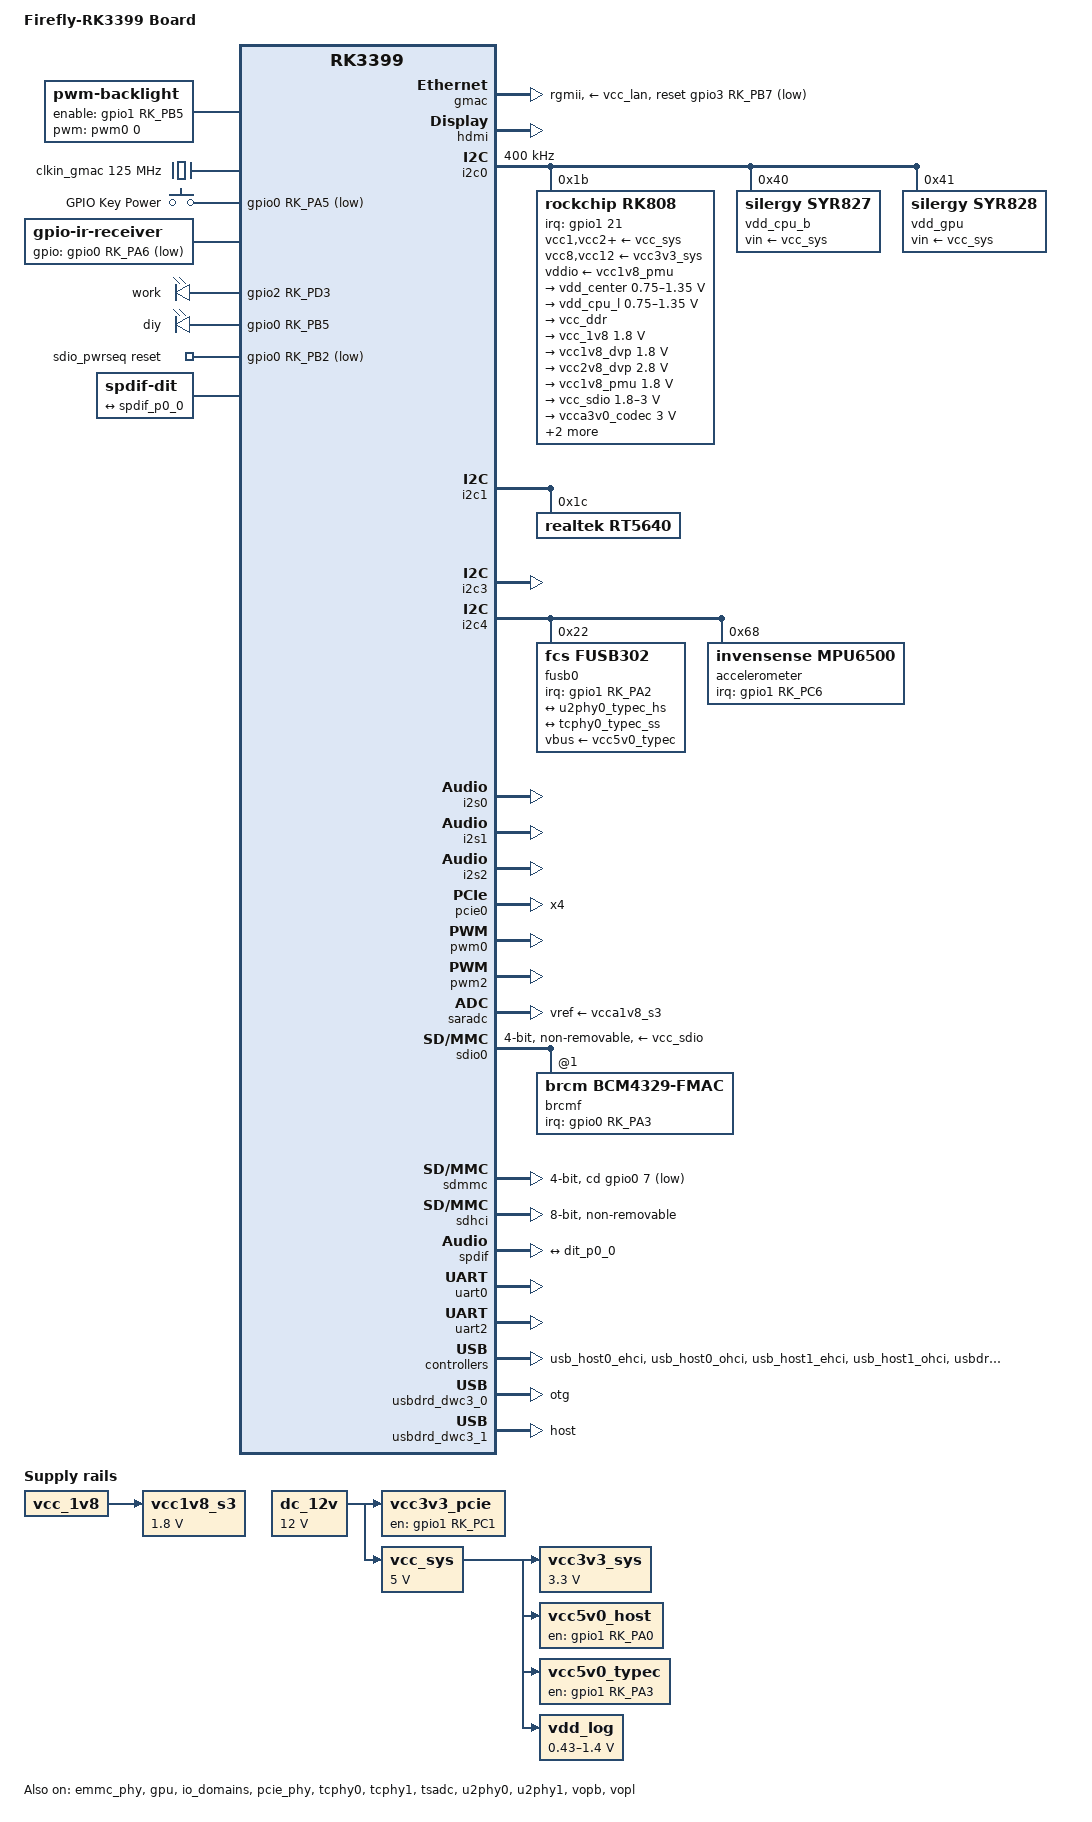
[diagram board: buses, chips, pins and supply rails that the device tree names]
// SPDX-License-Identifier: (GPL-2.0+ OR MIT)
/*
 * Copyright (c) 2017 Fuzhou Rockchip Electronics Co., Ltd.
 */

/dts-v1/;
#include <dt-bindings/input/linux-event-codes.h>
#include <dt-bindings/pwm/pwm.h>
#include <dt-bindings/usb/pd.h>
#include "rk3399.dtsi"
#include "rk3399-opp.dtsi"

/ {
	model = "Firefly-RK3399 Board";
	compatible = "firefly,firefly-rk3399", "rockchip,rk3399";

	aliases {
		mmc0 = &sdio0;
		mmc1 = &sdmmc;
		mmc2 = &sdhci;
	};

	chosen {
		stdout-path = "serial2:1500000n8";
	};

	backlight: backlight {
		compatible = "pwm-backlight";
		enable-gpios = <&gpio1 RK_PB5 GPIO_ACTIVE_HIGH>;
		pwms = <&pwm0 0 25000 0>;
		brightness-levels = <
			  0   1   2   3   4   5   6   7
			  8   9  10  11  12  13  14  15
			 16  17  18  19  20  21  22  23
			 24  25  26  27  28  29  30  31
			 32  33  34  35  36  37  38  39
			 40  41  42  43  44  45  46  47
			 48  49  50  51  52  53  54  55
			 56  57  58  59  60  61  62  63
			 64  65  66  67  68  69  70  71
			 72  73  74  75  76  77  78  79
			 80  81  82  83  84  85  86  87
			 88  89  90  91  92  93  94  95
			 96  97  98  99 100 101 102 103
			104 105 106 107 108 109 110 111
			112 113 114 115 116 117 118 119
			120 121 122 123 124 125 126 127
			128 129 130 131 132 133 134 135
			136 137 138 139 140 141 142 143
			144 145 146 147 148 149 150 151
			152 153 154 155 156 157 158 159
			160 161 162 163 164 165 166 167
			168 169 170 171 172 173 174 175
			176 177 178 179 180 181 182 183
			184 185 186 187 188 189 190 191
			192 193 194 195 196 197 198 199
			200 201 202 203 204 205 206 207
			208 209 210 211 212 213 214 215
			216 217 218 219 220 221 222 223
			224 225 226 227 228 229 230 231
			232 233 234 235 236 237 238 239
			240 241 242 243 244 245 246 247
			248 249 250 251 252 253 254 255>;
		default-brightness-level = <200>;
	};

	clkin_gmac: external-gmac-clock {
		compatible = "fixed-clock";
		clock-frequency = <125000000>;
		clock-output-names = "clkin_gmac";
		#clock-cells = <0>;
	};

	dc_12v: dc-12v {
		compatible = "regulator-fixed";
		regulator-name = "dc_12v";
		regulator-always-on;
		regulator-boot-on;
		regulator-min-microvolt = <12000000>;
		regulator-max-microvolt = <12000000>;
	};

	gpio-keys {
		compatible = "gpio-keys";
		autorepeat;
		pinctrl-names = "default";
		pinctrl-0 = <&pwrbtn>;

		power {
			debounce-interval = <100>;
			gpios = <&gpio0 RK_PA5 GPIO_ACTIVE_LOW>;
			label = "GPIO Key Power";
			linux,code = <KEY_POWER>;
			wakeup-source;
		};
	};

	ir-receiver {
		compatible = "gpio-ir-receiver";
		gpios = <&gpio0 RK_PA6 GPIO_ACTIVE_LOW>;
		pinctrl-0 = <&ir_int>;
		pinctrl-names = "default";
	};

	leds {
		compatible = "gpio-leds";
		pinctrl-names = "default";
		pinctrl-0 = <&work_led_pin>, <&diy_led_pin>;

		work_led: led-0 {
			label = "work";
			default-state = "on";
			gpios = <&gpio2 RK_PD3 GPIO_ACTIVE_HIGH>;
		};

		diy_led: led-1 {
			label = "diy";
			default-state = "off";
			gpios = <&gpio0 RK_PB5 GPIO_ACTIVE_HIGH>;
		};
	};

	rt5640-sound {
		compatible = "simple-audio-card";
		simple-audio-card,name = "rockchip,rt5640-codec";
		simple-audio-card,format = "i2s";
		simple-audio-card,mclk-fs = <256>;
		simple-audio-card,widgets =
			"Microphone", "Mic Jack",
			"Headphone", "Headphone Jack";
		simple-audio-card,routing =
			"Mic Jack", "MICBIAS1",
			"IN1P", "Mic Jack",
			"Headphone Jack", "HPOL",
			"Headphone Jack", "HPOR";

		simple-audio-card,cpu {
			sound-dai = <&i2s1>;
		};

		simple-audio-card,codec {
			sound-dai = <&rt5640>;
		};
	};

	sdio_pwrseq: sdio-pwrseq {
		compatible = "mmc-pwrseq-simple";
		clocks = <&rk808 1>;
		clock-names = "ext_clock";
		pinctrl-names = "default";
		pinctrl-0 = <&wifi_enable_h>;

		/*
		 * On the module itself this is one of these (depending
		 * on the actual card populated):
		 * - SDIO_RESET_L_WL_REG_ON
		 * - PDN (power down when low)
		 */
		reset-gpios = <&gpio0 RK_PB2 GPIO_ACTIVE_LOW>;
	};

	sound-dit {
		compatible = "audio-graph-card";
		label = "SPDIF";
		dais = <&spdif_p0>;
	};

	spdif-dit {
		compatible = "linux,spdif-dit";
		#sound-dai-cells = <0>;

		port {
			dit_p0_0: endpoint {
				remote-endpoint = <&spdif_p0_0>;
			};
		};
	};

	/* switched by pmic_sleep */
	vcc1v8_s3: vcca1v8_s3: vcc1v8-s3 {
		compatible = "regulator-fixed";
		regulator-name = "vcc1v8_s3";
		regulator-always-on;
		regulator-boot-on;
		regulator-min-microvolt = <1800000>;
		regulator-max-microvolt = <1800000>;
		vin-supply = <&vcc_1v8>;
	};

	vcc3v3_pcie: vcc3v3-pcie-regulator {
		compatible = "regulator-fixed";
		enable-active-high;
		gpio = <&gpio1 RK_PC1 GPIO_ACTIVE_HIGH>;
		pinctrl-names = "default";
		pinctrl-0 = <&pcie_pwr_en>;
		regulator-name = "vcc3v3_pcie";
		regulator-always-on;
		regulator-boot-on;
		vin-supply = <&dc_12v>;
	};

	vcc3v3_sys: vcc3v3-sys {
		compatible = "regulator-fixed";
		regulator-name = "vcc3v3_sys";
		regulator-always-on;
		regulator-boot-on;
		regulator-min-microvolt = <3300000>;
		regulator-max-microvolt = <3300000>;
		vin-supply = <&vcc_sys>;
	};

	/* Actually 3 regulators (host0, 1, 2) controlled by the same gpio */
	vcc5v0_host: vcc5v0-host-regulator {
		compatible = "regulator-fixed";
		enable-active-high;
		gpio = <&gpio1 RK_PA0 GPIO_ACTIVE_HIGH>;
		pinctrl-names = "default";
		pinctrl-0 = <&vcc5v0_host_en>;
		regulator-name = "vcc5v0_host";
		regulator-always-on;
		vin-supply = <&vcc_sys>;
	};

	vcc5v0_typec: vcc5v0-typec-regulator {
		compatible = "regulator-fixed";
		enable-active-high;
		gpio = <&gpio1 RK_PA3 GPIO_ACTIVE_HIGH>;
		pinctrl-names = "default";
		pinctrl-0 = <&vcc5v0_typec_en>;
		regulator-name = "vcc5v0_typec";
		regulator-always-on;
		vin-supply = <&vcc_sys>;
	};

	vcc_sys: vcc-sys {
		compatible = "regulator-fixed";
		regulator-name = "vcc_sys";
		regulator-always-on;
		regulator-boot-on;
		regulator-min-microvolt = <5000000>;
		regulator-max-microvolt = <5000000>;
		vin-supply = <&dc_12v>;
	};

	vdd_log: vdd-log {
		compatible = "pwm-regulator";
		pwms = <&pwm2 0 25000 1>;
		pwm-supply = <&vcc_sys>;
		regulator-name = "vdd_log";
		regulator-always-on;
		regulator-boot-on;
		regulator-min-microvolt = <430000>;
		regulator-max-microvolt = <1400000>;
	};
};

&cpu_l0 {
	cpu-supply = <&vdd_cpu_l>;
};

&cpu_l1 {
	cpu-supply = <&vdd_cpu_l>;
};

&cpu_l2 {
	cpu-supply = <&vdd_cpu_l>;
};

&cpu_l3 {
	cpu-supply = <&vdd_cpu_l>;
};

&cpu_b0 {
	cpu-supply = <&vdd_cpu_b>;
};

&cpu_b1 {
	cpu-supply = <&vdd_cpu_b>;
};

&emmc_phy {
	status = "okay";
};

&gmac {
	assigned-clocks = <&cru SCLK_RMII_SRC>;
	assigned-clock-parents = <&clkin_gmac>;
	clock_in_out = "input";
	phy-supply = <&vcc_lan>;
	phy-mode = "rgmii";
	pinctrl-names = "default";
	pinctrl-0 = <&rgmii_pins>;
	snps,reset-gpio = <&gpio3 RK_PB7 GPIO_ACTIVE_LOW>;
	snps,reset-active-low;
	snps,reset-delays-us = <0 10000 50000>;
	tx_delay = <0x28>;
	rx_delay = <0x11>;
	status = "okay";
};

&gpu {
	mali-supply = <&vdd_gpu>;
	status = "okay";
};

&hdmi {
	ddc-i2c-bus = <&i2c3>;
	pinctrl-names = "default";
	pinctrl-0 = <&hdmi_cec>;
	status = "okay";
};

&i2c0 {
	clock-frequency = <400000>;
	i2c-scl-rising-time-ns = <168>;
	i2c-scl-falling-time-ns = <4>;
	status = "okay";

	rk808: pmic@1b {
		compatible = "rockchip,rk808";
		reg = <0x1b>;
		interrupt-parent = <&gpio1>;
		interrupts = <21 IRQ_TYPE_LEVEL_LOW>;
		#clock-cells = <1>;
		clock-output-names = "xin32k", "rk808-clkout2";
		pinctrl-names = "default";
		pinctrl-0 = <&pmic_int_l>;
		rockchip,system-power-controller;
		wakeup-source;

		vcc1-supply = <&vcc_sys>;
		vcc2-supply = <&vcc_sys>;
		vcc3-supply = <&vcc_sys>;
		vcc4-supply = <&vcc_sys>;
		vcc6-supply = <&vcc_sys>;
		vcc7-supply = <&vcc_sys>;
		vcc8-supply = <&vcc3v3_sys>;
		vcc9-supply = <&vcc_sys>;
		vcc10-supply = <&vcc_sys>;
		vcc11-supply = <&vcc_sys>;
		vcc12-supply = <&vcc3v3_sys>;
		vddio-supply = <&vcc1v8_pmu>;

		regulators {
			vdd_center: DCDC_REG1 {
				regulator-name = "vdd_center";
				regulator-always-on;
				regulator-boot-on;
				regulator-min-microvolt = <750000>;
				regulator-max-microvolt = <1350000>;
				regulator-ramp-delay = <6001>;
				regulator-state-mem {
					regulator-off-in-suspend;
				};
			};

			vdd_cpu_l: DCDC_REG2 {
				regulator-name = "vdd_cpu_l";
				regulator-always-on;
				regulator-boot-on;
				regulator-min-microvolt = <750000>;
				regulator-max-microvolt = <1350000>;
				regulator-ramp-delay = <6001>;
				regulator-state-mem {
					regulator-off-in-suspend;
				};
			};

			vcc_ddr: DCDC_REG3 {
				regulator-name = "vcc_ddr";
				regulator-always-on;
				regulator-boot-on;
				regulator-state-mem {
					regulator-on-in-suspend;
				};
			};

			vcc_1v8: DCDC_REG4 {
				regulator-name = "vcc_1v8";
				regulator-always-on;
				regulator-boot-on;
				regulator-min-microvolt = <1800000>;
				regulator-max-microvolt = <1800000>;
				regulator-state-mem {
					regulator-on-in-suspend;
					regulator-suspend-microvolt = <1800000>;
				};
			};

			vcc1v8_dvp: LDO_REG1 {
				regulator-name = "vcc1v8_dvp";
				regulator-always-on;
				regulator-boot-on;
				regulator-min-microvolt = <1800000>;
				regulator-max-microvolt = <1800000>;
				regulator-state-mem {
					regulator-off-in-suspend;
				};
			};

			vcc2v8_dvp: LDO_REG2 {
				regulator-name = "vcc2v8_dvp";
				regulator-always-on;
				regulator-boot-on;
				regulator-min-microvolt = <2800000>;
				regulator-max-microvolt = <2800000>;
				regulator-state-mem {
					regulator-off-in-suspend;
				};
			};

			vcc1v8_pmu: LDO_REG3 {
				regulator-name = "vcc1v8_pmu";
				regulator-always-on;
				regulator-boot-on;
				regulator-min-microvolt = <1800000>;
				regulator-max-microvolt = <1800000>;
				regulator-state-mem {
					regulator-on-in-suspend;
					regulator-suspend-microvolt = <1800000>;
				};
			};

			vcc_sdio: LDO_REG4 {
				regulator-name = "vcc_sdio";
				regulator-always-on;
				regulator-boot-on;
				regulator-min-microvolt = <1800000>;
				regulator-max-microvolt = <3000000>;
				regulator-state-mem {
					regulator-on-in-suspend;
					regulator-suspend-microvolt = <3000000>;
				};
			};

			vcca3v0_codec: LDO_REG5 {
				regulator-name = "vcca3v0_codec";
				regulator-always-on;
				regulator-boot-on;
				regulator-min-microvolt = <3000000>;
				regulator-max-microvolt = <3000000>;
				regulator-state-mem {
					regulator-off-in-suspend;
				};
			};

			vcc_1v5: LDO_REG6 {
				regulator-name = "vcc_1v5";
				regulator-always-on;
				regulator-boot-on;
				regulator-min-microvolt = <1500000>;
				regulator-max-microvolt = <1500000>;
				regulator-state-mem {
					regulator-on-in-suspend;
					regulator-suspend-microvolt = <1500000>;
				};
			};

			vcca1v8_codec: LDO_REG7 {
				regulator-name = "vcca1v8_codec";
				regulator-always-on;
				regulator-boot-on;
				regulator-min-microvolt = <1800000>;
				regulator-max-microvolt = <1800000>;
				regulator-state-mem {
					regulator-off-in-suspend;
				};
			};

			vcc_3v0: LDO_REG8 {
				regulator-name = "vcc_3v0";
				regulator-always-on;
				regulator-boot-on;
				regulator-min-microvolt = <3000000>;
				regulator-max-microvolt = <3000000>;
				regulator-state-mem {
					regulator-on-in-suspend;
					regulator-suspend-microvolt = <3000000>;
				};
			};

			vcc3v3_s3: vcc_lan: SWITCH_REG1 {
				regulator-name = "vcc3v3_s3";
				regulator-always-on;
				regulator-boot-on;
				regulator-state-mem {
					regulator-off-in-suspend;
				};
			};

			vcc3v3_s0: SWITCH_REG2 {
				regulator-name = "vcc3v3_s0";
				regulator-always-on;
				regulator-boot-on;
				regulator-state-mem {
					regulator-off-in-suspend;
				};
			};
		};
	};

	vdd_cpu_b: regulator@40 {
		compatible = "silergy,syr827";
		reg = <0x40>;
		fcs,suspend-voltage-selector = <0>;
		regulator-name = "vdd_cpu_b";
		regulator-min-microvolt = <712500>;
		regulator-max-microvolt = <1500000>;
		regulator-ramp-delay = <1000>;
		regulator-always-on;
		regulator-boot-on;
		vin-supply = <&vcc_sys>;

		regulator-state-mem {
			regulator-off-in-suspend;
		};
	};

	vdd_gpu: regulator@41 {
		compatible = "silergy,syr828";
		reg = <0x41>;
		fcs,suspend-voltage-selector = <1>;
		regulator-name = "vdd_gpu";
		regulator-min-microvolt = <712500>;
		regulator-max-microvolt = <1500000>;
		regulator-ramp-delay = <1000>;
		regulator-always-on;
		regulator-boot-on;
		vin-supply = <&vcc_sys>;

		regulator-state-mem {
			regulator-off-in-suspend;
		};
	};
};

&i2c1 {
	i2c-scl-rising-time-ns = <300>;
	i2c-scl-falling-time-ns = <15>;
	status = "okay";

	rt5640: rt5640@1c {
		compatible = "realtek,rt5640";
		reg = <0x1c>;
		clocks = <&cru SCLK_I2S_8CH_OUT>;
		clock-names = "mclk";
		realtek,in1-differential;
		#sound-dai-cells = <0>;
		pinctrl-names = "default";
		pinctrl-0 = <&rt5640_hpcon>;
	};
};

&i2c3 {
	i2c-scl-rising-time-ns = <450>;
	i2c-scl-falling-time-ns = <15>;
	status = "okay";
};

&i2c4 {
	i2c-scl-rising-time-ns = <600>;
	i2c-scl-falling-time-ns = <20>;
	status = "okay";

	fusb0: typec-portc@22 {
		compatible = "fcs,fusb302";
		reg = <0x22>;
		interrupt-parent = <&gpio1>;
		interrupts = <RK_PA2 IRQ_TYPE_LEVEL_LOW>;
		pinctrl-names = "default";
		pinctrl-0 = <&fusb0_int>;
		vbus-supply = <&vcc5v0_typec>;
		status = "okay";

		connector {
			compatible = "usb-c-connector";
			data-role = "host";
			label = "USB-C";
			op-sink-microwatt = <1000000>;
			power-role = "dual";
			sink-pdos =
				<PDO_FIXED(5000, 2500, PDO_FIXED_USB_COMM)>;
			source-pdos =
				<PDO_FIXED(5000, 1400, PDO_FIXED_USB_COMM)>;
			try-power-role = "sink";

			ports {
				#address-cells = <1>;
				#size-cells = <0>;

				port@0 {
					reg = <0>;

					usbc_hs: endpoint {
						remote-endpoint =
							<&u2phy0_typec_hs>;
					};
				};

				port@1 {
					reg = <1>;

					usbc_ss: endpoint {
						remote-endpoint =
							<&tcphy0_typec_ss>;
					};
				};
			};
		};
	};

	accelerometer@68 {
		compatible = "invensense,mpu6500";
		reg = <0x68>;
		interrupt-parent = <&gpio1>;
		interrupts = <RK_PC6 IRQ_TYPE_EDGE_RISING>;
	};
};

&i2s0 {
	rockchip,playback-channels = <8>;
	rockchip,capture-channels = <8>;
	status = "okay";
};

&i2s1 {
	rockchip,playback-channels = <2>;
	rockchip,capture-channels = <2>;
	status = "okay";
};

&i2s2 {
	status = "okay";
};

&io_domains {
	status = "okay";

	bt656-supply = <&vcc1v8_dvp>;
	audio-supply = <&vcca1v8_codec>;
	sdmmc-supply = <&vcc_sdio>;
	gpio1830-supply = <&vcc_3v0>;
};

&pcie_phy {
	status = "okay";
};

&pcie0 {
	ep-gpios = <&gpio4 RK_PD1 GPIO_ACTIVE_HIGH>;
	num-lanes = <4>;
	pinctrl-names = "default";
	pinctrl-0 = <&pcie_clkreqn_cpm>;
	status = "okay";
};

&pmu_io_domains {
	pmu1830-supply = <&vcc_3v0>;
	status = "okay";
};

&pinctrl {
	buttons {
		pwrbtn: pwrbtn {
			rockchip,pins = <0 RK_PA5 RK_FUNC_GPIO &pcfg_pull_up>;
		};
	};

	fusb302x {
		fusb0_int: fusb0-int {
			rockchip,pins = <1 RK_PA2 RK_FUNC_GPIO &pcfg_pull_up>;
		};
	};

	ir {
		ir_int: ir-int {
			rockchip,pins = <0 RK_PA6 RK_FUNC_GPIO &pcfg_pull_none>;
		};
	};

	lcd-panel {
		lcd_panel_reset: lcd-panel-reset {
			rockchip,pins = <4 RK_PD6 RK_FUNC_GPIO &pcfg_pull_up>;
		};
	};

	leds {
		work_led_pin: work-led-pin {
			rockchip,pins = <2 RK_PD3 RK_FUNC_GPIO &pcfg_pull_none>;
		};

		diy_led_pin: diy-led-pin {
			rockchip,pins = <0 RK_PB5 RK_FUNC_GPIO &pcfg_pull_none>;
		};
	};

	pcie {
		pcie_pwr_en: pcie-pwr-en {
			rockchip,pins = <1 RK_PC1 RK_FUNC_GPIO &pcfg_pull_none>;
		};

		pcie_3g_drv: pcie-3g-drv {
			rockchip,pins = <0 RK_PA2 RK_FUNC_GPIO &pcfg_pull_up>;
		};
	};

	pmic {
		pmic_int_l: pmic-int-l {
			rockchip,pins = <1 RK_PC5 RK_FUNC_GPIO &pcfg_pull_up>;
		};

		vsel1_pin: vsel1-pin {
			rockchip,pins = <1 RK_PC2 RK_FUNC_GPIO &pcfg_pull_down>;
		};

		vsel2_pin: vsel2-pin {
			rockchip,pins = <1 RK_PB6 RK_FUNC_GPIO &pcfg_pull_down>;
		};
	};

	rt5640 {
		rt5640_hpcon: rt5640-hpcon {
			rockchip,pins = <4 RK_PC5 RK_FUNC_GPIO &pcfg_pull_none>;
		};
	};

	sdio-pwrseq {
		wifi_enable_h: wifi-enable-h {
			rockchip,pins = <0 RK_PB2 RK_FUNC_GPIO &pcfg_pull_none>;
		};
	};

	usb-typec {
		vcc5v0_typec_en: vcc5v0_typec_en {
			rockchip,pins = <1 RK_PA3 RK_FUNC_GPIO &pcfg_pull_up>;
		};
	};

	usb2 {
		vcc5v0_host_en: vcc5v0-host-en {
			rockchip,pins = <1 RK_PA0 RK_FUNC_GPIO &pcfg_pull_none>;
		};
	};

	wifi {
		wifi_host_wake_l: wifi-host-wake-l {
			rockchip,pins = <0 RK_PA3 RK_FUNC_GPIO &pcfg_pull_none>;
		};
	};
};

&pwm0 {
	status = "okay";
};

&pwm2 {
	status = "okay";
};

&saradc {
	vref-supply = <&vcca1v8_s3>;
	status = "okay";
};

&sdio0 {
	/* WiFi & BT combo module Ampak AP6356S */
	bus-width = <4>;
	cap-sdio-irq;
	cap-sd-highspeed;
	keep-power-in-suspend;
	mmc-pwrseq = <&sdio_pwrseq>;
	non-removable;
	pinctrl-names = "default";
	pinctrl-0 = <&sdio0_bus4 &sdio0_cmd &sdio0_clk>;
	sd-uhs-sdr104;

	/* Power supply */
	vqmmc-supply = <&vcc1v8_s3>;	/* IO line */
	vmmc-supply = <&vcc_sdio>;	/* card's power */

	#address-cells = <1>;
	#size-cells = <0>;
	status = "okay";

	brcmf: wifi@1 {
		reg = <1>;
		compatible = "brcm,bcm4329-fmac";
		interrupt-parent = <&gpio0>;
		interrupts = <RK_PA3 GPIO_ACTIVE_HIGH>;
		interrupt-names = "host-wake";
		brcm,drive-strength = <5>;
		pinctrl-names = "default";
		pinctrl-0 = <&wifi_host_wake_l>;
	};
};

&sdmmc {
	bus-width = <4>;
	cap-mmc-highspeed;
	cap-sd-highspeed;
	cd-gpios = <&gpio0 7 GPIO_ACTIVE_LOW>;
	disable-wp;
	max-frequency = <150000000>;
	pinctrl-names = "default";
	pinctrl-0 = <&sdmmc_clk &sdmmc_cmd &sdmmc_bus4>;
	status = "okay";
};

&sdhci {
	bus-width = <8>;
	mmc-hs400-1_8v;
	mmc-hs400-enhanced-strobe;
	non-removable;
	status = "okay";
};

&spdif {
	pinctrl-0 = <&spdif_bus_1>;
	status = "okay";

	spdif_p0: port {
		spdif_p0_0: endpoint {
			remote-endpoint = <&dit_p0_0>;
		};
	};
};

&tcphy0 {
	status = "okay";
};

&tcphy0_usb3 {
	port {
		tcphy0_typec_ss: endpoint {
			remote-endpoint = <&usbc_ss>;
		};
	};
};

&tcphy1 {
	status = "okay";
};

&tsadc {
	/* tshut mode 0:CRU 1:GPIO */
	rockchip,hw-tshut-mode = <1>;
	/* tshut polarity 0:LOW 1:HIGH */
	rockchip,hw-tshut-polarity = <1>;
	status = "okay";
};

&u2phy0 {
	status = "okay";

	u2phy0_otg: otg-port {
		status = "okay";
	};

	u2phy0_host: host-port {
		phy-supply = <&vcc5v0_host>;
		status = "okay";
	};

	port {
		u2phy0_typec_hs: endpoint {
			remote-endpoint = <&usbc_hs>;
		};
	};
};

&u2phy1 {
	status = "okay";

	u2phy1_otg: otg-port {
		status = "okay";
	};

	u2phy1_host: host-port {
		phy-supply = <&vcc5v0_host>;
		status = "okay";
	};
};

&uart0 {
	pinctrl-names = "default";
	pinctrl-0 = <&uart0_xfer &uart0_cts>;
	status = "okay";
};

&uart2 {
	status = "okay";
};

&usb_host0_ehci {
	status = "okay";
};

&usb_host0_ohci {
	status = "okay";
};

&usb_host1_ehci {
	status = "okay";
};

&usb_host1_ohci {
	status = "okay";
};

&usbdrd3_0 {
	status = "okay";
};

&usbdrd_dwc3_0 {
	status = "okay";
	dr_mode = "otg";
};

&usbdrd3_1 {
	status = "okay";
};

&usbdrd_dwc3_1 {
	status = "okay";
	dr_mode = "host";
};

&vopb {
	status = "okay";
};

&vopb_mmu {
	status = "okay";
};

&vopl {
	status = "okay";
};

&vopl_mmu {
	status = "okay";
};
